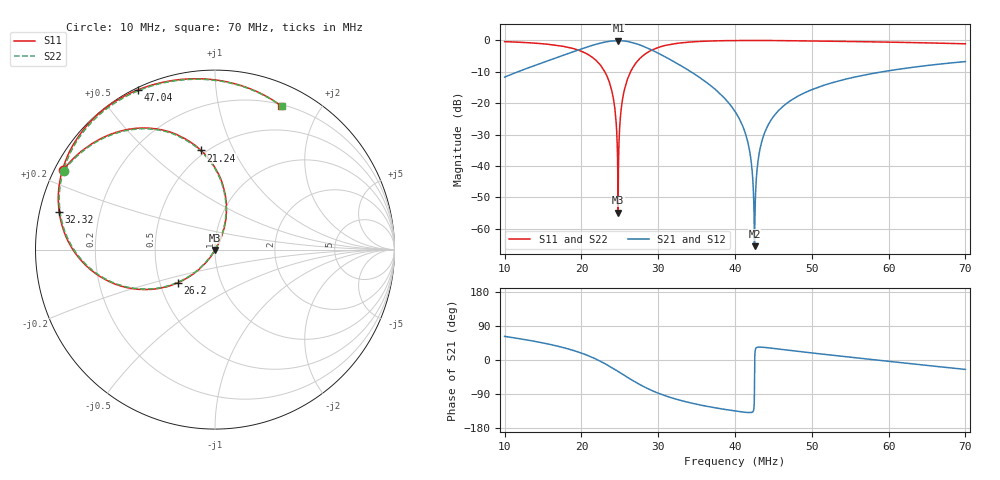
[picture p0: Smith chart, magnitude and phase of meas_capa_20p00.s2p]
#  HZ  S  RI  R  50.00
! Rohde & Schwarz ZVT8 8Ports - Version 4.11 - 1300.0000k08 SN: 100242
! Date: 2026-07-13 13:47:07
! Measurements: S11 S21 S12 S22
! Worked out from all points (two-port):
!   3001 points, 10 MHz to 70 MHz, reference 50 ohm
!   highest |S21| = -0.09 dB at 24.82 MHz (marker M1); lowest = -65.5 dB at 42.54 MHz (marker M2)
!   |S21| within 3 dB of the highest: 19.57 MHz to 29.17 MHz (9.605 MHz wide, 39.4 % of centre)
!   lowest |S11| = -54.9 dB at 24.78 MHz (marker M3), VSWR 1.00, Z = 50.1 - j0.143 ohm
!   |S11| at or under -10 dB: 23.05 MHz to 26.4 MHz (3.351 MHz wide, 13.6 % of centre)
!   |S22| runs from -61.0 to -0.1 dB; largest |S21 - S12| = 0.0016
!   S11 on the Smith chart (normalised r, x): 10 MHz: 0.03, +0.25; 21.24 MHz: 0.47, +0.75; 26.2 MHz: 0.62, -0.25; 32.32 MHz: 0.06, +0.12; 47.04 MHz: 0.01, +0.63; 70 MHz: 0.21, +1.54
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1e7  -0.8443 0.4434  0.1207 0.2301  0.1211 0.2299  -0.8418 0.4405
2e7  -0.2055 0.6375  0.6945 0.227  0.6939 0.2267  -0.2059 0.6346
2.124e7  -0.077 0.5524  0.8106 0.1202  0.8103 0.1199  -0.0794 0.5496
2.37e7  0.0631 0.1949  0.9269 -0.2809  0.9262 -0.2805  0.0608 0.1944
2.422e7  0.0446 0.0982  0.9048 -0.3867  0.9039 -0.3867  0.0428 0.0996
2.456e7  0.0214 0.0369  0.8786 -0.4551  0.8775 -0.4545  0.0197 0.0374
2.478e7  0.00111 -0.00143  0.856 -0.4976  0.8549 -0.4971  -0.000757 -0.000477
2.482e7  -0.00235 -0.00841  0.8517 -0.505  0.8507 -0.5046  -0.0046 -0.00673
2.538e7  -0.073 -0.0951  0.7764 -0.603  0.7755 -0.6024  -0.0737 -0.0934
2.62e7  -0.2081 -0.1853  0.6328 -0.7088  0.6321 -0.7081  -0.2082 -0.1831
3e7  -0.7703 -0.031  0.0276 -0.6239  0.0277 -0.6249  -0.7656 -0.029
3.232e7  -0.8682 0.2074  -0.1001 -0.4271  -0.1006 -0.4275  -0.8626 0.2077
4e7  -0.7037 0.7018  -0.0519 -0.0529  -0.052 -0.0528  -0.6978 0.6986
4.166e7  -0.6424 0.7617  -0.0182 -0.016  -0.0182 -0.016  -0.6361 0.7584
4.254e7  -0.6085 0.7896  0.000281 -0.00045  0.000278 -0.000432  -0.6026 0.7854
4.274e7  -0.6008 0.7957  0.00452 0.00275  0.00451 0.00276  -0.5949 0.7911
4.316e7  -0.5843 0.8071  0.0134 0.0091  0.0134 0.00905  -0.5789 0.8025
4.382e7  -0.5585 0.8243  0.0275 0.018  0.0275 0.018  -0.5534 0.8198
4.704e7  -0.4303 0.89  0.0956 0.0459  0.0955 0.0459  -0.4274 0.8854
5e7  -0.3139 0.9265  0.1557 0.0527  0.1556 0.0526  -0.3115 0.9233
6e7  0.0599 0.9359  0.3277 -0.0198  0.3274 -0.0199  0.0619 0.9331
7e7  0.3699 0.8005  0.4175 -0.1933  0.4176 -0.1933  0.3728 0.798
